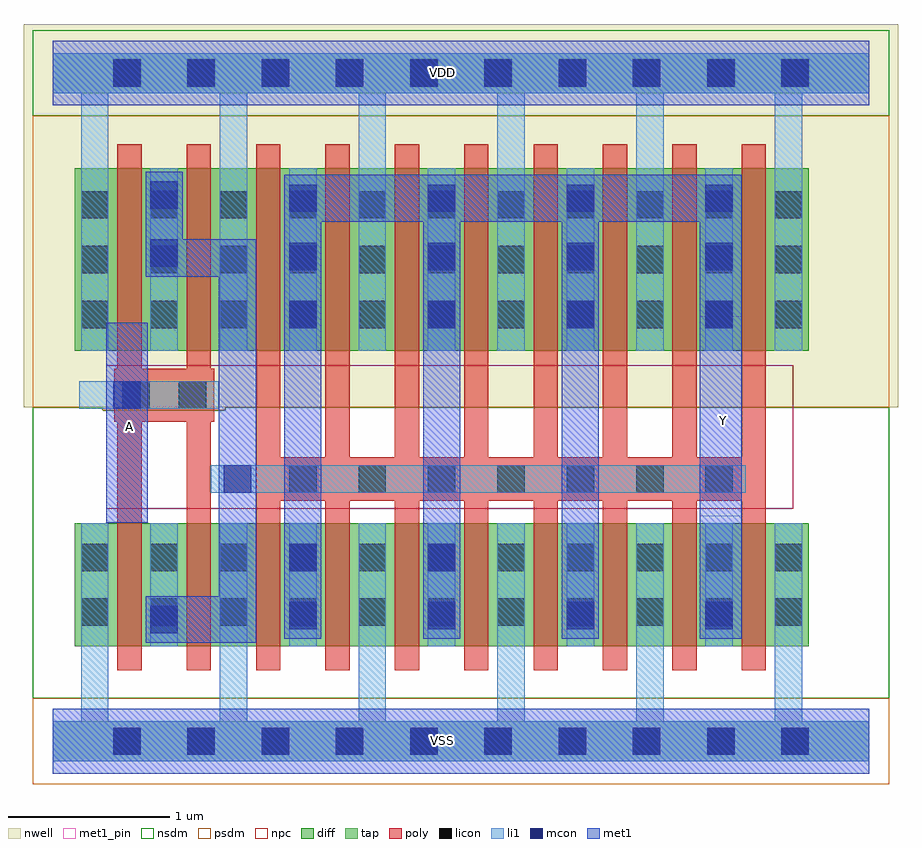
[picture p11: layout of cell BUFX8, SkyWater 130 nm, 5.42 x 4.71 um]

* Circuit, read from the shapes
.subckt BUFX8 A VDD VSS Y
XM1 n1 A VSS VSS sky130_fd_pr__nfet_01v8 w=0.76 l=0.15 m=2
XM2 Y n1 VSS VSS sky130_fd_pr__nfet_01v8 w=0.76 l=0.15 m=8
XM3 n1 A VDD VDD sky130_fd_pr__pfet_01v8 w=1.13 l=0.15 m=2
XM4 Y n1 VDD VDD sky130_fd_pr__pfet_01v8 w=1.13 l=0.15 m=8
.ends

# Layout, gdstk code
from math import pi, radians
import gdstk
lib = gdstk.Library(unit=1e-6, precision=1e-09)
def R(c, l, rs):  # rectangles x0, y0, x1, y1
    for r in rs: c.add(gdstk.rectangle(r[:2], r[2:], *l))
def A(c, l, x, y, w, h, nx, ny, dx, dy):  # array of equal rectangles
    R(c, l, [(x+i*dx, y+j*dy, x+i*dx+w, y+j*dy+h) for i in range(nx) for j in range(ny)])
def P(c, l, *ps):  # polygons
    for p in ps: c.add(gdstk.Polygon(p, *l))
nwell = (64, 20)
diff = (65, 20)
tap = (65, 44)
poly = (66, 20)
licon = (66, 44)
li1 = (67, 20)
mcon = (67, 44)
met1_pin = (68, 16)
met1 = (68, 20)
nsdm = (93, 44)
psdm = (94, 20)
npc = (95, 20)

nfet_01v8_cdns_716492285 = lib.new_cell('nfet_01v8_CDNS_71649228522206')
A(nfet_01v8_cdns_716492285, diff, 0, 0, 0.15, 0.76, 8, 1, 0.43, 0)
A(nfet_01v8_cdns_716492285, diff, 0.15, 0, 0.28, 0.76, 7, 1, 0.43, 0)
R(nfet_01v8_cdns_716492285, diff, [(-0.055,0,0,0.76), (3.16,0,3.425,0.76)])
A(nfet_01v8_cdns_716492285, poly, 0, -0.15, 0.15, 0.055, 8, 2, 0.43, 1.005)
A(nfet_01v8_cdns_716492285, poly, 0, -0.095, 0.15, 0.095, 8, 2, 0.43, 0.855)
A(nfet_01v8_cdns_716492285, poly, 0, 0, 0.15, 0.76, 8, 1, 0.43, 0)
A(nfet_01v8_cdns_716492285, licon, 0.205, 0.125, 0.17, 0.17, 8, 2, 0.43, 0.34)
A(nfet_01v8_cdns_716492285, li1, 0.205, 0, 0.17, 0.76, 8, 1, 0.43, 0)
R(nfet_01v8_cdns_716492285, nsdm, [(-0.065,-0.13,3.565,0.89)])

pfet_01v8_cdns_716492285 = lib.new_cell('pfet_01v8_CDNS_7164922852267')
R(pfet_01v8_cdns_716492285, nwell, [(-0.445,-0.18,0.985,1.31)])
R(pfet_01v8_cdns_716492285, diff, [(-0.265,0,0,1.13), (0,0,0.15,1.13), (0.15,0,0.43,1.13), (0.43,0,0.58,1.13), (0.58,0,0.805,1.13)])
R(pfet_01v8_cdns_716492285, poly, [(0,-0.15,0.15,-0.095), (0.43,-0.15,0.58,-0.095), (0,-0.095,0.15,0), (0.43,-0.095,0.58,0), (0,0,0.15,1.13), (0.43,0,0.58,1.13), (0,1.13,0.15,1.225), (0.43,1.13,0.58,1.225), (0,1.225,0.15,1.28), (0.43,1.225,0.58,1.28)])
A(pfet_01v8_cdns_716492285, licon, -0.225, 0.14, 0.17, 0.17, 3, 3, 0.43, 0.34)
A(pfet_01v8_cdns_716492285, li1, -0.225, 0, 0.17, 1.13, 3, 1, 0.43, 0)
R(pfet_01v8_cdns_716492285, psdm, [(-0.405,-0.13,0.815,1.26)])

c_nfet_01v8_cdns_716492285 = lib.new_cell('nfet_01v8_CDNS_71649228522124')
R(c_nfet_01v8_cdns_716492285, diff, [(-0.265,0,0,0.76), (0,0,0.15,0.76), (0.15,0,0.43,0.76), (0.43,0,0.58,0.76), (0.58,0,0.805,0.76)])
R(c_nfet_01v8_cdns_716492285, poly, [(0,-0.15,0.15,-0.095), (0.43,-0.15,0.58,-0.095), (0,-0.095,0.15,0), (0.43,-0.095,0.58,0), (0,0,0.15,0.76), (0.43,0,0.58,0.76), (0,0.76,0.15,0.855), (0.43,0.76,0.58,0.855), (0,0.855,0.15,0.91), (0.43,0.855,0.58,0.91)])
A(c_nfet_01v8_cdns_716492285, licon, -0.225, 0.125, 0.17, 0.17, 3, 2, 0.43, 0.34)
A(c_nfet_01v8_cdns_716492285, li1, -0.225, 0, 0.17, 0.76, 3, 1, 0.43, 0)
R(c_nfet_01v8_cdns_716492285, nsdm, [(-0.405,-0.13,0.815,0.89)])

c_pfet_01v8_cdns_716492285 = lib.new_cell('pfet_01v8_CDNS_7164922852256')
R(c_pfet_01v8_cdns_716492285, nwell, [(-0.235,-0.18,3.605,1.31)])
A(c_pfet_01v8_cdns_716492285, diff, 0, 0, 0.15, 1.13, 8, 1, 0.43, 0)
A(c_pfet_01v8_cdns_716492285, diff, 0.15, 0, 0.28, 1.13, 7, 1, 0.43, 0)
R(c_pfet_01v8_cdns_716492285, diff, [(-0.055,0,0,1.13), (3.16,0,3.425,1.13)])
A(c_pfet_01v8_cdns_716492285, poly, 0, -0.15, 0.15, 0.055, 8, 2, 0.43, 1.375)
A(c_pfet_01v8_cdns_716492285, poly, 0, -0.095, 0.15, 0.095, 8, 2, 0.43, 1.225)
A(c_pfet_01v8_cdns_716492285, poly, 0, 0, 0.15, 1.13, 8, 1, 0.43, 0)
A(c_pfet_01v8_cdns_716492285, licon, 0.205, 0.14, 0.17, 0.17, 8, 3, 0.43, 0.34)
A(c_pfet_01v8_cdns_716492285, li1, 0.205, 0, 0.17, 1.13, 8, 1, 0.43, 0)
R(c_pfet_01v8_cdns_716492285, psdm, [(-0.065,-0.13,3.565,1.26)])

l1m1_c_cdns_716492285222 = lib.new_cell('L1M1_C_CDNS_716492285222')
R(l1m1_c_cdns_716492285222, li1, [(-0.085,-0.165,0.085,0.165)])
R(l1m1_c_cdns_716492285222, mcon, [(-0.085,-0.085,0.085,0.085)])
R(l1m1_c_cdns_716492285222, met1, [(-0.115,-0.145,0.115,0.145)])

pyl1con_c_cdns_716492285 = lib.new_cell('PYL1CON_C_CDNS_716492285220')
R(pyl1con_c_cdns_716492285, poly, [(-0.135,-0.165,0.135,0.165)])
R(pyl1con_c_cdns_716492285, licon, [(-0.085,-0.085,0.085,0.085)])
R(pyl1con_c_cdns_716492285, npc, [(-0.185,-0.185,0.185,0.185)])

l1m1_c_cdns_716492285225 = lib.new_cell('L1M1_C_CDNS_716492285225')
R(l1m1_c_cdns_716492285225, li1, [(-0.085,-0.345,0.085,0.345)])
R(l1m1_c_cdns_716492285225, mcon, [(-0.085,-0.265,0.085,-0.095), (-0.085,0.095,0.085,0.265)])
R(l1m1_c_cdns_716492285225, met1, [(-0.115,-0.325,0.115,0.325)])

l1m1_c_cdns_716492285223 = lib.new_cell('L1M1_C_CDNS_716492285223')
R(l1m1_c_cdns_716492285223, li1, [(-0.165,-0.085,0.165,0.085)])
R(l1m1_c_cdns_716492285223, mcon, [(-0.085,-0.085,0.085,0.085)])
R(l1m1_c_cdns_716492285223, met1, [(-0.115,-0.145,0.115,0.145)])

bufx8 = lib.new_cell('BUFX8')
R(bufx8, nwell, [(-0.18,2.07,5.24,4.305), (-0.18,3.875,5.24,4.445)])
R(bufx8, poly, [(0.38,1.98,1,2.31)])
A(bufx8, licon, 0.375, -0.085, 0.17, 0.17, 10, 2, 0.46, 4.14)
A(bufx8, mcon, 0.375, -0.085, 0.17, 0.17, 10, 2, 0.46, 4.14)
A(bufx8, mcon, 1.465, 0.695, 0.17, 0.17, 4, 2, 0.86, 1.865)
A(bufx8, mcon, 1.465, 2.92, 0.17, 0.17, 4, 2, 0.86, 0.36)
R(bufx8, mcon, [(1.465,1.055,1.635,1.225), (2.325,1.055,2.495,1.225)])
R(bufx8, met1_pin, [(0.33,1.355,0.59,2.595), (4.01,1.395,4.27,2.635)])
R(bufx8, nsdm, [(-0.125,3.875,5.185,4.405), (-0.125,3.93,5.185,4.35)])
P(bufx8, nsdm, [(5.185,2.07),(1.07,2.07),(1.07,2.05),(0.31,2.05),(0.31,2.07),(-0.125,2.07),(-0.125,0.265),(5.185,0.265)])
R(bufx8, psdm, [(-0.125,-0.265,5.185,0.265), (-0.125,-0.21,5.185,0.21)])
P(bufx8, psdm, [(5.185,3.875),(-0.125,3.875),(-0.125,2.07),(0.31,2.07),(0.31,2.05),(1.07,2.05),(1.07,2.07),(5.185,2.07)])
R(bufx8, npc, [(0.33,1.44,4.59,2.33)])
bufx8.add(gdstk.FlexPath([(4.345,2.27),(4.345,1.5)], 0.15, ends="flush", simple_path=True, layer=66, datatype=20))  # poly
bufx8.add(gdstk.FlexPath([(3.915,2.27),(3.915,1.5)], 0.15, ends="flush", simple_path=True, layer=66, datatype=20))  # poly
bufx8.add(gdstk.FlexPath([(3.485,2.27),(3.485,1.5)], 0.15, ends="flush", simple_path=True, layer=66, datatype=20))  # poly
bufx8.add(gdstk.FlexPath([(2.625,2.27),(2.625,1.5)], 0.15, ends="flush", simple_path=True, layer=66, datatype=20))  # poly
bufx8.add(gdstk.FlexPath([(1.765,2.27),(1.765,1.5)], 0.15, ends="flush", simple_path=True, layer=66, datatype=20))  # poly
bufx8.add(gdstk.FlexPath([(0.905,2.27),(0.905,1.5)], 0.15, ends="flush", simple_path=True, layer=66, datatype=20))  # poly
bufx8.add(gdstk.FlexPath([(3.055,2.27),(3.055,1.5)], 0.15, ends="flush", simple_path=True, layer=66, datatype=20))  # poly
bufx8.add(gdstk.FlexPath([(2.195,2.27),(2.195,1.5)], 0.15, ends="flush", simple_path=True, layer=66, datatype=20))  # poly
bufx8.add(gdstk.FlexPath([(1.335,2.27),(1.335,1.5)], 0.15, ends="flush", simple_path=True, layer=66, datatype=20))  # poly
bufx8.add(gdstk.FlexPath([(0.475,2.27),(0.475,1.5)], 0.15, ends="flush", simple_path=True, layer=66, datatype=20))  # poly
bufx8.add(gdstk.FlexPath([(0.98,1.625),(4.295,1.625)], 0.17, ends="flush", simple_path=True, layer=67, datatype=20))  # li1
bufx8.add(gdstk.FlexPath([(0.165,2.145),(1.03,2.145)], 0.17, ends="flush", simple_path=True, layer=67, datatype=20))  # li1
bufx8.add(gdstk.FlexPath([(4.34,0),(5.06,0)], 0.25, ends=(0.085, 0), simple_path=True, layer=67, datatype=20))  # li1
bufx8.add(gdstk.FlexPath([(0.69,0),(2.47,0)], 0.25, ends=(0.085, 0.085), simple_path=True, layer=67, datatype=20))  # li1
bufx8.add(gdstk.FlexPath([(2.47,0),(3.42,0)], 0.25, ends=(0.085, 0.085), simple_path=True, layer=67, datatype=20))  # li1
bufx8.add(gdstk.FlexPath([(0,0),(0.69,0)], 0.25, ends=(0, 0.085), simple_path=True, layer=67, datatype=20))  # li1
bufx8.add(gdstk.FlexPath([(3.42,0),(4.34,0)], 0.25, ends=(0.085, 0.085), simple_path=True, layer=67, datatype=20))  # li1
bufx8.add(gdstk.FlexPath([(2.47,4.14),(3.42,4.14)], 0.25, ends=(0.085, 0.085), simple_path=True, layer=67, datatype=20))  # li1
bufx8.add(gdstk.FlexPath([(0,4.14),(0.69,4.14)], 0.25, ends=(0, 0.085), simple_path=True, layer=67, datatype=20))  # li1
bufx8.add(gdstk.FlexPath([(3.42,4.14),(4.34,4.14)], 0.25, ends=(0.085, 0.085), simple_path=True, layer=67, datatype=20))  # li1
bufx8.add(gdstk.FlexPath([(0.69,4.14),(2.47,4.14)], 0.25, ends=(0.085, 0.085), simple_path=True, layer=67, datatype=20))  # li1
bufx8.add(gdstk.FlexPath([(4.34,4.14),(5.06,4.14)], 0.25, ends=(0.085, 0), simple_path=True, layer=67, datatype=20))  # li1
bufx8.add(gdstk.FlexPath([(0.26,0),(0.215,0)], 0.17, ends=(0.085, 0), simple_path=True, layer=67, datatype=20))  # li1
bufx8.add(gdstk.FlexPath([(1.12,0.59),(1.12,0)], 0.17, ends=(0, 0.085), simple_path=True, layer=67, datatype=20))  # li1
bufx8.add(gdstk.FlexPath([(1.98,0),(1.625,0)], 0.17, ends="extended", simple_path=True, layer=67, datatype=20))  # li1
bufx8.add(gdstk.FlexPath([(2.84,0.59),(2.84,0)], 0.17, ends=(0, 0.125), simple_path=True, layer=67, datatype=20))  # li1
bufx8.add(gdstk.FlexPath([(3.7,0),(2.84,0)], 0.17, ends="extended", simple_path=True, layer=67, datatype=20))  # li1
bufx8.add(gdstk.FlexPath([(4.56,0),(3.7,0)], 0.17, ends="extended", simple_path=True, layer=67, datatype=20))  # li1
bufx8.add(gdstk.FlexPath([(3.7,3.55),(3.7,4.14)], 0.17, ends=(0, 0.125), simple_path=True, layer=67, datatype=20))  # li1
bufx8.add(gdstk.FlexPath([(3.7,0.59),(3.7,0)], 0.17, ends=(0, 0.125), simple_path=True, layer=67, datatype=20))  # li1
bufx8.add(gdstk.FlexPath([(0.26,4.14),(0.215,4.14)], 0.17, ends=(0.085, 0), simple_path=True, layer=67, datatype=20))  # li1
bufx8.add(gdstk.FlexPath([(1.12,3.55),(1.12,4.14)], 0.17, ends=(0, 0.125), simple_path=True, layer=67, datatype=20))  # li1
bufx8.add(gdstk.FlexPath([(4.56,4.14),(0.26,4.14)], 0.17, ends="extended", simple_path=True, layer=67, datatype=20))  # li1
bufx8.add(gdstk.FlexPath([(4.56,3.55),(4.56,4.14)], 0.17, ends=(0, 0.085), simple_path=True, layer=67, datatype=20))  # li1
bufx8.add(gdstk.FlexPath([(1.12,0),(0.215,0)], 0.17, ends=(0.085, 0), simple_path=True, layer=67, datatype=20))  # li1
bufx8.add(gdstk.FlexPath([(2.84,0),(1.98,0)], 0.17, ends="extended", simple_path=True, layer=67, datatype=20))  # li1
bufx8.add(gdstk.FlexPath([(4.56,0.59),(4.56,0)], 0.17, ends=(0, 0.085), simple_path=True, layer=67, datatype=20))  # li1
bufx8.add(gdstk.FlexPath([(0.26,3.55),(0.26,4.14)], 0.17, ends=(0, 0.085), simple_path=True, layer=67, datatype=20))  # li1
bufx8.add(gdstk.FlexPath([(1.98,3.55),(1.98,4.14)], 0.17, ends=(0, 0.125), simple_path=True, layer=67, datatype=20))  # li1
bufx8.add(gdstk.FlexPath([(2.84,3.55),(2.84,4.14)], 0.17, ends=(0, 0.125), simple_path=True, layer=67, datatype=20))  # li1
bufx8.add(gdstk.FlexPath([(1.98,0.59),(1.98,0)], 0.17, ends=(0, 0.125), simple_path=True, layer=67, datatype=20))  # li1
bufx8.add(gdstk.FlexPath([(0.26,0.59),(0.26,0)], 0.17, ends=(0, 0.085), simple_path=True, layer=67, datatype=20))  # li1
bufx8.add(gdstk.FlexPath([(4.27,3.365),(1.435,3.365)], 0.29, ends="flush", simple_path=True, layer=68, datatype=20))  # met1
bufx8.add(gdstk.FlexPath([(0.46,1.355),(0.46,2.595)], 0.26, ends="flush", simple_path=True, layer=68, datatype=20))  # met1
bufx8.add(gdstk.FlexPath([(4.14,0.635),(4.14,3.495)], 0.26, ends="flush", simple_path=True, layer=68, datatype=20))  # met1
bufx8.add(gdstk.FlexPath([(3.27,3.495),(3.27,0.635)], 0.23, ends="flush", simple_path=True, layer=68, datatype=20))  # met1
bufx8.add(gdstk.FlexPath([(2.41,3.495),(2.41,0.635)], 0.23, ends="flush", simple_path=True, layer=68, datatype=20))  # met1
bufx8.add(gdstk.FlexPath([(1.55,3.495),(1.55,0.635)], 0.23, ends="flush", simple_path=True, layer=68, datatype=20))  # met1
bufx8.add(gdstk.FlexPath([(1.145,2.995),(0.575,2.995)], 0.23, ends=(0.115, 0), simple_path=True, layer=68, datatype=20))  # met1
bufx8.add(gdstk.FlexPath([(1.145,1.625),(1.145,2.995)], 0.23, ends=(0, 0.115), simple_path=True, layer=68, datatype=20))  # met1
bufx8.add(gdstk.FlexPath([(0.575,0.755),(1.145,0.755)], 0.29, ends=(0, 0.115), simple_path=True, layer=68, datatype=20))  # met1
bufx8.add(gdstk.FlexPath([(1.145,0.755),(1.145,1.625)], 0.23, ends=(0.145, 0), simple_path=True, layer=68, datatype=20))  # met1
bufx8.add(gdstk.FlexPath([(0,0),(5.06,0)], 0.4, ends="flush", simple_path=True, layer=68, datatype=20))  # met1
bufx8.add(gdstk.FlexPath([(0,4.14),(5.06,4.14)], 0.4, ends="flush", simple_path=True, layer=68, datatype=20))  # met1
bufx8.add(gdstk.FlexPath([(0,4.14),(5.06,4.14)], 0.25, ends="flush", simple_path=True, layer=65, datatype=44))  # tap
bufx8.add(gdstk.FlexPath([(0,0),(5.06,0)], 0.25, ends="flush", simple_path=True, layer=65, datatype=44))  # tap
bufx8.add(gdstk.FlexPath([(0,4.14),(5.06,4.14)], 0.4, ends="flush", simple_path=True, layer=68, datatype=16))  # met1_pin
bufx8.add(gdstk.FlexPath([(0,0),(5.06,0)], 0.4, ends="flush", simple_path=True, layer=68, datatype=16))  # met1_pin
bufx8.add(gdstk.Reference(nfet_01v8_cdns_716492285, (1.26,0.59)))
bufx8.add(gdstk.Reference(pfet_01v8_cdns_716492285, (0.4,2.42)))
bufx8.add(gdstk.Reference(c_nfet_01v8_cdns_716492285, (0.4,0.59)))
bufx8.add(gdstk.Reference(c_pfet_01v8_cdns_716492285, (1.26,2.42)))
bufx8.add(gdstk.Reference(l1m1_c_cdns_716492285222, (0.69,0.755)))
bufx8.add(gdstk.Reference(pyl1con_c_cdns_716492285, (2.84,1.625), rotation=pi/2))
bufx8.add(gdstk.Reference(pyl1con_c_cdns_716492285, (0.515,2.145), rotation=pi, x_reflection=True))
bufx8.add(gdstk.Reference(pyl1con_c_cdns_716492285, (0.865,2.145), rotation=pi, x_reflection=True))
bufx8.add(gdstk.Reference(pyl1con_c_cdns_716492285, (3.27,1.625), rotation=pi/2))
bufx8.add(gdstk.Reference(pyl1con_c_cdns_716492285, (2.41,1.625), rotation=pi/2))
bufx8.add(gdstk.Reference(pyl1con_c_cdns_716492285, (4.13,1.625), rotation=pi/2))
bufx8.add(gdstk.Reference(pyl1con_c_cdns_716492285, (3.7,1.625), rotation=pi/2))
bufx8.add(gdstk.Reference(pyl1con_c_cdns_716492285, (1.98,1.625), rotation=pi/2))
bufx8.add(gdstk.Reference(pyl1con_c_cdns_716492285, (1.55,1.625), rotation=pi/2))
bufx8.add(gdstk.Reference(l1m1_c_cdns_716492285225, (0.69,3.205)))
bufx8.add(gdstk.Reference(l1m1_c_cdns_716492285223, (1.145,1.625), x_reflection=True))
bufx8.add(gdstk.Reference(l1m1_c_cdns_716492285223, (0.46,2.145), x_reflection=True))
bufx8.add(gdstk.Label('Y', (4.155,1.99), layer=68, texttype=5))
bufx8.add(gdstk.Label('VDD', (2.415,4.145), layer=68, texttype=5))
bufx8.add(gdstk.Label('VSS', (2.415,0.005), layer=68, texttype=5))
bufx8.add(gdstk.Label('A', (0.475,1.95), layer=68, texttype=5))

lib.write_gds('BUFX8.gds')
